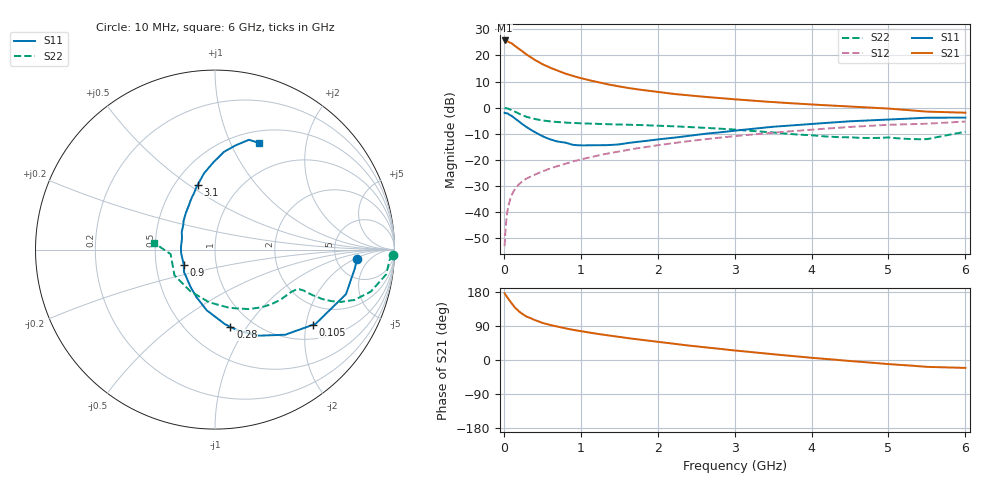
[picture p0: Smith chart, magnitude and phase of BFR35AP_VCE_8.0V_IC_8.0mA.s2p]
! Infineon Technologies  Discrete & RF Semiconductors
! BFR35AP
! VCE =  8.0 V,  IC =  8.0 mA
! Common Emitter S-Parameters:  Nov 2015
# GHz  S  MA  R  50
!  f  S11  S21  S12  S22
! GHz  MAG  ANG  MAG  ANG  MAG  ANG  MAG  ANG
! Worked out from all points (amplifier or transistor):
!   210 points, 10 MHz to 6 GHz, reference 50 ohm
!   highest |S21| = 25.8 dB at 10 MHz (marker M1)
!   |S21| within 3 dB of that: start of sweep to 187 MHz
!   unconditionally stable (mu >= 1): 693.9 MHz to 2.929 GHz
!   at 185 MHz: K = 0.47, MSG = 26.3 dB, |S12| = -29.8 dB
!   at 1.52 GHz: K = 1.10, MAG = 10.5 dB, |S12| = -16.7 dB
!   at 6 GHz: K = 0.89, MSG = 1.7 dB, |S12| = -5.3 dB
!   S11 on the Smith chart (normalised r, x): 10 MHz: 8.00, -2.19; 105 MHz: 1.38, -2.19; 280 MHz: 0.79, -0.84; 900 MHz: 0.69, -0.12; 3.1 GHz: 0.65, +0.54; 6 GHz: 0.63, +1.29
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0.01  0.7918 -3.7  19.42 176.2  0.0022 87.9  0.9908 -1.6
0.02  0.7866 -7.5  19.07 172.8  0.0041 89.0  0.9746 -3.4
0.05  0.771 -18.8  18.61 163.7  0.0111 79.7  0.9631 -8.3
0.1  0.6968 -36.4  17.18 149.4  0.0207 73.4  0.899 -15.1
0.105  0.6869 -37.6  16.94 148.3  0.0215 72.5  0.8915 -15.5
0.15  0.6148 -50.5  15.09 137.0  0.0284 66.9  0.8268 -19.8
0.19  0.5512 -60.2  13.65 129.7  0.033 65.1  0.7746 -21.9
0.24  0.4832 -71.4  12.01 121.6  0.0384 62.4  0.7164 -23.7
0.28  0.4388 -78.7  10.85 116.6  0.0421 62.0  0.6793 -24.4
0.3  0.4192 -82.4  10.31 114.1  0.0439 62.1  0.6622 -24.7
0.4  0.341 -97.8  8.274 105.5  0.0516 61.6  0.6056 -25.0
0.5  0.2843 -111.3  6.839 98.0  0.0595 62.0  0.5673 -25.0
0.6  0.2468 -124.0  5.851 92.5  0.0678 62.8  0.5437 -24.8
0.7  0.2237 -134.5  5.098 87.7  0.0757 63.6  0.5282 -25.0
0.9  0.1932 -154.2  4.032 79.5  0.0931 63.6  0.5074 -25.9
1.02  0.1888 -167.0  3.615 75.4  0.103 64.0  0.4992 -26.9
1.4  0.1925 163.3  2.707 63.7  0.1356 63.1  0.4794 -30.9
2.02  0.2481 133.1  1.974 47.4  0.1916 59.2  0.4495 -40.2
3.1  0.3742 104.8  1.408 23.2  0.2928 48.9  0.3687 -63.5
4.1  0.4983 89.6  1.128 4.2  0.387 37.6  0.2862 -100.9
5.1  0.6 77.7  0.934 -12.1  0.4724 23.7  0.2594 -152.4
6  0.6426 67.7  0.799 -20.9  0.5412 13.2  0.3434 173.5
